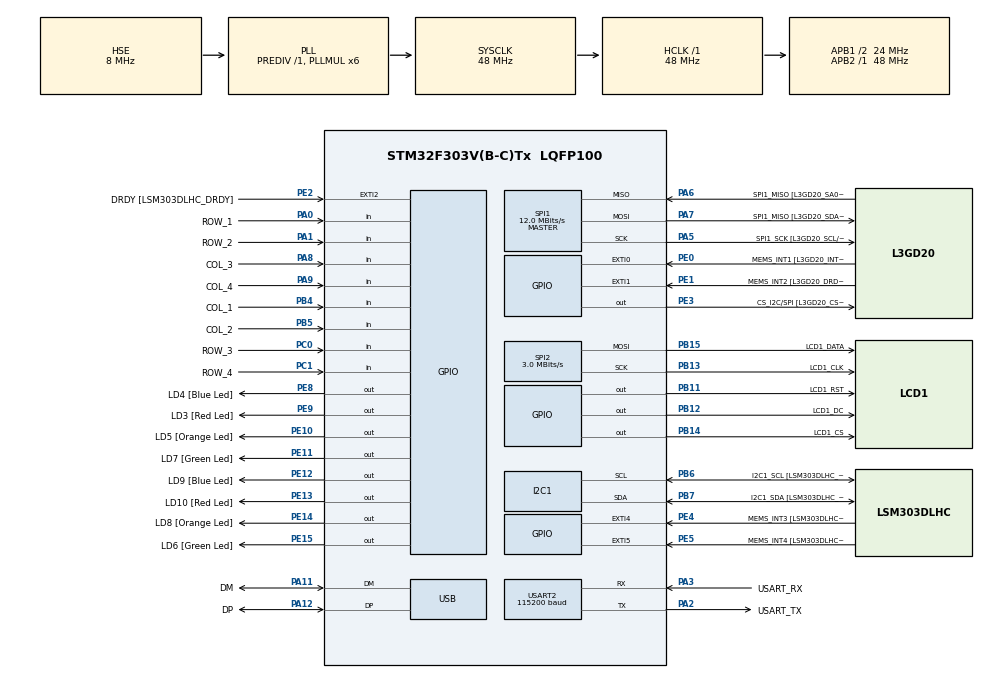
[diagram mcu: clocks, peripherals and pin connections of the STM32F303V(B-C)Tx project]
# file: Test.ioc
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I2C1.Timing=0x00201D2B
I2C1.Timing-I2C=0x2000090E
Mcu.Family=STM32F3
Mcu.Name=STM32F303V(B-C)Tx
Mcu.Package=LQFP100
NVIC.PriorityGroup=NVIC_PRIORITYGROUP_0
NVIC.USART2_IRQn=true\:0\:0\:false\:false\:true\:true\:true\:true
PA0.GPIO_Label=ROW_1
PA0.Signal=GPIO_Input
PA1.GPIO_Label=ROW_2
PA1.Signal=GPIO_Input
PA11.GPIO_Label=DM
PA11.Mode=Device
PA11.Signal=USB_DM
PA12.GPIO_Label=DP
PA12.Mode=Device
PA12.Signal=USB_DP
PA13.GPIO_Label=SWDIO
PA13.Mode=Serial_Wire
PA13.Signal=SYS_JTMS-SWDIO
PA14.GPIO_Label=SWCLK
PA14.Mode=Serial_Wire
PA14.Signal=SYS_JTCK-SWCLK
PA2.GPIO_Label=USART_TX
PA2.Mode=Asynchronous
PA2.Signal=USART2_TX
PA3.GPIO_Label=USART_RX
PA3.Mode=Asynchronous
PA3.Signal=USART2_RX
PA5.GPIO_Label=SPI1_SCK [L3GD20_SCL/SPC]
PA5.Mode=Full_Duplex_Master
PA5.Signal=SPI1_SCK
PA6.GPIO_Label=SPI1_MISO [L3GD20_SA0/SDO]
PA6.Mode=Full_Duplex_Master
PA6.Signal=SPI1_MISO
PA7.GPIO_Label=SPI1_MISO [L3GD20_SDA/SDI/SDO]
PA7.Mode=Full_Duplex_Master
PA7.Signal=SPI1_MOSI
PA8.GPIO_Label=COL_3
PA8.Signal=GPIO_Input
PA9.GPIO_Label=COL_4
PA9.Signal=GPIO_Input
PB11.GPIO_Label=LCD1_RST
PB11.Signal=GPIO_Output
PB12.GPIO_Label=LCD1_DC
PB12.Signal=GPIO_Output
PB13.GPIO_Label=LCD1_CLK
PB13.Mode=TX_Only_Simplex_Unidirect_Master
PB13.Signal=SPI2_SCK
PB14.GPIO_Label=LCD1_CS
PB14.Signal=GPIO_Output
PB15.GPIO_Label=LCD1_DATA
PB15.Mode=TX_Only_Simplex_Unidirect_Master
PB15.Signal=SPI2_MOSI
PB3.GPIO_Label=SWO
PB3.Signal=SYS_JTDO-TRACESWO
PB4.GPIO_Label=COL_1
PB4.Signal=GPIO_Input
PB5.GPIO_Label=COL_2
PB5.Signal=GPIO_Input
PB6.GPIO_Label=I2C1_SCL [LSM303DLHC_SCL]
PB6.GPIO_Pu=GPIO_PULLUP
PB6.Mode=I2C
PB6.Signal=I2C1_SCL
PB7.GPIO_Label=I2C1_SDA [LSM303DLHC_SDA]
PB7.GPIO_Pu=GPIO_PULLUP
PB7.Mode=I2C
PB7.Signal=I2C1_SDA
PC0.GPIO_Label=ROW_3
PC0.Signal=GPIO_Input
PC1.GPIO_Label=ROW_4
PC1.Signal=GPIO_Input
PC14-OSC32_IN.GPIO_Label=OSC32_IN
PC14-OSC32_IN.Signal=RCC_OSC32_IN
PC15-OSC32_OUT.GPIO_Label=OSC32_OUT
PC15-OSC32_OUT.Signal=RCC_OSC32_OUT
PE0.GPIO_Label=MEMS_INT1 [L3GD20_INT1]
PE0.GPIO_ModeDefaultEXTI=GPIO_MODE_EVT_RISING
PE0.Signal=GPXTI0
PE1.GPIO_Label=MEMS_INT2 [L3GD20_DRDY/INT2]
PE1.GPIO_ModeDefaultEXTI=GPIO_MODE_EVT_RISING
PE1.Signal=GPXTI1
PE10.GPIO_Label=LD5 [Orange Led]
PE10.Signal=GPIO_Output
PE11.GPIO_Label=LD7 [Green Led]
PE11.Signal=GPIO_Output
PE12.GPIO_Label=LD9 [Blue Led]
PE12.Signal=GPIO_Output
PE13.GPIO_Label=LD10 [Red Led]
PE13.Signal=GPIO_Output
PE14.GPIO_Label=LD8 [Orange Led]
PE14.Signal=GPIO_Output
PE15.GPIO_Label=LD6 [Green Led]
PE15.Signal=GPIO_Output
PE2.GPIO_Label=DRDY [LSM303DLHC_DRDY]
PE2.GPIO_ModeDefaultEXTI=GPIO_MODE_EVT_RISING
PE2.Signal=GPXTI2
PE3.GPIO_Label=CS_I2C/SPI [L3GD20_CS_I2C/SPI]
PE3.Signal=GPIO_Output
PE4.GPIO_Label=MEMS_INT3 [LSM303DLHC_INT1]
PE4.GPIO_ModeDefaultEXTI=GPIO_MODE_EVT_RISING
PE4.Signal=GPXTI4
PE5.GPIO_Label=MEMS_INT4 [LSM303DLHC_INT2]
PE5.GPIO_ModeDefaultEXTI=GPIO_MODE_EVT_RISING
PE5.Signal=GPXTI5
PE8.GPIO_Label=LD4 [Blue Led]
PE8.Signal=GPIO_Output
PE9.GPIO_Label=LD3 [Red Led]
PE9.Signal=GPIO_Output
PF0-OSC_IN.GPIO_Label=OSC_IN
PF0-OSC_IN.Mode=HSE-External-Clock-Source
PF0-OSC_IN.Signal=RCC_OSC_IN
PF1-OSC_OUT.GPIO_Label=OSC_OUT
PF1-OSC_OUT.Signal=RCC_OSC_OUT
ProjectManager.HeapSize=0x200
ProjectManager.StackSize=0x400
ProjectManager.TargetToolchain=STM32CubeIDE
RCC.AHBFreq_Value=48000000
RCC.APB1CLKDivider=RCC_HCLK_DIV2
RCC.APB1Freq_Value=24000000
RCC.APB1TimFreq_Value=48000000
RCC.APB2Freq_Value=48000000
RCC.APB2TimFreq_Value=48000000
RCC.CortexFreq_Value=48000000
RCC.HCLKFreq_Value=48000000
RCC.HSE_VALUE=8000000
RCC.HSI_VALUE=8000000
RCC.LSE_VALUE=32768
RCC.PLLMUL=RCC_PLL_MUL6
RCC.SYSCLKFreq_VALUE=48000000
RCC.SYSCLKSourceVirtual=RCC_SYSCLKSOURCE_PLLCLK
RCC.USBFreq_Value=48000000
SPI1.BaudRatePrescaler=SPI_BAUDRATEPRESCALER_4
SPI1.BaudRatePrescaler-Full_Duplex_Master=SPI_BAUDRATEPRESCALER_2
SPI1.CalculateBaudRate=12.0 MBits/s
SPI1.CalculateBaudRate-Full_Duplex_Master=24.0 MBits/s
SPI1.Direction=SPI_DIRECTION_2LINES
SPI1.Mode=SPI_MODE_MASTER
SPI1.Mode-Full_Duplex_Master=SPI_MODE_MASTER
SPI1.VirtualType=VM_MASTER
SPI2.BaudRatePrescaler=SPI_BAUDRATEPRESCALER_8
SPI2.CalculateBaudRate=3.0 MBits/s
SPI2.DataSize=SPI_DATASIZE_8BIT
SPI2.Direction=SPI_DIRECTION_2LINES
SPI2.Mode=SPI_MODE_MASTER
SPI2.VirtualType=VM_MASTER
USART2.BaudRate=115200
USART2.VirtualMode-Asynchronous=VM_ASYNC
board=STM32F3DISCOVERY

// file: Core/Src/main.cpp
/* USER CODE BEGIN Header */
/**
  ******************************************************************************
  * @file           : main.c
  * @brief          : Main program body
  ******************************************************************************
  * @attention
  *
  * Copyright (c) 2024 STMicroelectronics.
  * All rights reserved.
  *
  * This software is licensed under terms that can be found in the LICENSE file
  * in the root directory of this software component.
  * If no LICENSE file comes with this software, it is provided AS-IS.
  *
  ******************************************************************************
  */
/* USER CODE END Header */
#include "GSMModule.hpp"
extern "C"{
	#include "main.h"
	#include "i2c.h"
	#include "spi.h"
	#include "usart.h"
	#include "usb.h"
	#include "gpio.h"
	#include "lcd5110.h"
}
/* USER CODE BEGIN Includes */
#include <cstring>
#include <iostream>
#include <queue>
#include <fstream>
#include <string>
#include <stack>
/* USER CODE END Includes */

/* USER CODE BEGIN PTD */
typedef enum {
  IDLE,
  MENU,

} ProgramState;
/* USER CODE END PTD */

LCD5110_display lcd;

void SystemClock_Config(void);
/* USER CODE BEGIN PFP */
//void handle_state_machine(GSM_Module& );
//State parse_command(const std::string& command, GSM_Module );
//std::string read_keyboard_input();
/* USER CODE END PFP */

/* USER CODE BEGIN 0 */

#define ROW_1_Pin GPIO_PIN_0
#define ROW_2_Pin GPIO_PIN_1
#define ROW_3_Pin GPIO_PIN_2
#define ROW_4_Pin GPIO_PIN_3
#define COL_1_Pin GPIO_PIN_4
#define COL_2_Pin GPIO_PIN_5
#define COL_3_Pin GPIO_PIN_8
#define COL_4_Pin GPIO_PIN_9

GPIO_TypeDef* ROW_1_Port = GPIOA;
GPIO_TypeDef* ROW_2_Port = GPIOA;
GPIO_TypeDef* ROW_3_Port = GPIOC;
GPIO_TypeDef* ROW_4_Port = GPIOC;
GPIO_TypeDef* COL_1_Port = GPIOB;
GPIO_TypeDef* COL_2_Port = GPIOB;
GPIO_TypeDef* COL_3_Port = GPIOA;
GPIO_TypeDef* COL_4_Port = GPIOA;

void keypad_init(void)
{
  // Configure GPIO pins for keypad matrix
  GPIO_InitTypeDef GPIO_InitStruct = {0};
  GPIO_InitStruct.Pin = ROW_1_Pin | ROW_2_Pin | ROW_3_Pin | ROW_4_Pin;
  GPIO_InitStruct.Mode = GPIO_MODE_INPUT;
  GPIO_InitStruct.Pull = GPIO_PULLUP;
  HAL_GPIO_Init(ROW_1_Port, &GPIO_InitStruct);
  HAL_GPIO_Init(ROW_2_Port, &GPIO_InitStruct);
  HAL_GPIO_Init(ROW_3_Port, &GPIO_InitStruct);
  HAL_GPIO_Init(ROW_4_Port, &GPIO_InitStruct);

  GPIO_InitStruct.Pin = COL_1_Pin | COL_2_Pin | COL_3_Pin | COL_4_Pin;
  GPIO_InitStruct.Mode = GPIO_MODE_OUTPUT_PP;
  GPIO_InitStruct.Speed = GPIO_SPEED_FREQ_LOW;
  HAL_GPIO_Init(COL_1_Port, &GPIO_InitStruct);
  HAL_GPIO_Init(COL_2_Port, &GPIO_InitStruct);
  HAL_GPIO_Init(COL_3_Port, &GPIO_InitStruct);
  HAL_GPIO_Init(COL_4_Port, &GPIO_InitStruct);
}

char keypad_scan(void)
{
  char keys[4][4] = {{'1', '2', '3', 'A'},
           {'4', '5', '6', 'B'},
           {'7', '8', '9', 'C'},
           {'*', '0', '#', 'D'}};

  for(int i = 0; i < 4; i++)
  {
  // Set current column as output and low
  switch(i)
  {
    case 0:
    HAL_GPIO_WritePin(COL_1_Port, COL_1_Pin, GPIO_PIN_RESET);
    HAL_GPIO_WritePin(COL_2_Port, COL_2_Pin, GPIO_PIN_SET);
    HAL_GPIO_WritePin(COL_3_Port, COL_3_Pin, GPIO_PIN_SET);
    HAL_GPIO_WritePin(COL_4_Port, COL_4_Pin, GPIO_PIN_SET);
    break;

    case 1:
    HAL_GPIO_WritePin(COL_1_Port, COL_1_Pin, GPIO_PIN_SET);
    HAL_GPIO_WritePin(COL_2_Port, COL_2_Pin, GPIO_PIN_RESET);
    HAL_GPIO_WritePin(COL_3_Port, COL_3_Pin, GPIO_PIN_SET);
    HAL_GPIO_WritePin(COL_4_Port, COL_4_Pin, GPIO_PIN_SET);
    break;

    case 2:
    HAL_GPIO_WritePin(COL_1_Port, COL_1_Pin, GPIO_PIN_SET);
    HAL_GPIO_WritePin(COL_2_Port, COL_2_Pin, GPIO_PIN_SET);
    HAL_GPIO_WritePin(COL_3_Port, COL_3_Pin, GPIO_PIN_RESET);
    HAL_GPIO_WritePin(COL_4_Port, COL_4_Pin, GPIO_PIN_SET);
    break;

    case 3:
    HAL_GPIO_WritePin(COL_1_Port, COL_1_Pin, GPIO_PIN_SET);
    HAL_GPIO_WritePin(COL_2_Port, COL_2_Pin, GPIO_PIN_SET);
    HAL_GPIO_WritePin(COL_3_Port, COL_3_Pin, GPIO_PIN_SET);
    HAL_GPIO_WritePin(COL_4_Port, COL_4_Pin, GPIO_PIN_RESET);
    break;
  }
  // Read current rows
  if(HAL_GPIO_ReadPin(ROW_1_Port, ROW_1_Pin) == GPIO_PIN_RESET)
    return keys[0][i];
  if(HAL_GPIO_ReadPin(ROW_2_Port, ROW_2_Pin) == GPIO_PIN_RESET)
    return keys[1][i];
  if(HAL_GPIO_ReadPin(ROW_3_Port, ROW_3_Pin) == GPIO_PIN_RESET)
    return keys[2][i];
  if(HAL_GPIO_ReadPin(ROW_4_Port, ROW_4_Pin) == GPIO_PIN_RESET)
    return keys[3][i];
  }
  return 0;
}

std::string entered_number = "";

std::string read_input(LCD5110_display* lcd) {
    char key;
    int cursor_x = 21; // Starting position for the cursor on the display
    unsigned long last_key_time = 0; // Time of the last key press
    unsigned long debounce_delay = 200; // 200 ms debounce delay

    while (true) {
        key = keypad_scan(); // Get key from the keypad
        if (key != 0 && (HAL_GetTick() - last_key_time > debounce_delay)) {
            last_key_time = HAL_GetTick(); // Update last key time

            if (key == '#') {
                return entered_number;  // Return the global variable
            }
            if (key == '*') {
                if (!entered_number.empty()) { // Handle backspace if not empty
                    entered_number.pop_back(); // Remove the last character
                    cursor_x = std::max(21, cursor_x - 6); // Prevent cursor from going past the start
                    LCD5110_set_cursor(cursor_x, 34, lcd);
                    LCD5110_print(" ", BLACK, lcd); // Clear the character on the display
                }
            } else if (key >= '0' && key <= '9') { // Check if the key is a digit
                if (entered_number.length() < 10) { // Ensure the input doesn't exceed 10 characters
                    entered_number.push_back(key); // Append the key to the global variable

                    LCD5110_set_cursor(cursor_x, 34, lcd);
                    char str[2] = {key, '\0'}; // Temporary string for display
                    LCD5110_print(str, BLACK, lcd); // Print character on the display
                    cursor_x += 6; // Move the cursor forward
                }
            } else {
                // If the key is not a digit and not '*' or '#', display error message
                LCD5110_set_cursor(0, 40, lcd);
                LCD5110_print("Invalid input", BLACK, lcd); // Print error message
                HAL_Delay(1000); // Wait for 1 second to show the error message
                LCD5110_set_cursor(0, 40, lcd);
                LCD5110_print("              ", BLACK, lcd); // Clear the error message
            }

            HAL_Delay(150); // Small delay to debounce
            LCD5110_refresh(lcd); // Refresh the display
        }
    }
}

std::string entered_message = "";
std::string read_input_message(LCD5110_display* lcd) {
    char key;
    int cursor_x = 21; // Starting position for the cursor on the display
    unsigned long last_key_time = 0; // Time of the last key press
    unsigned long debounce_delay = 200; // 200 ms debounce delay

    while (true) {
        key = keypad_scan(); // Get key from the keypad
        if (key != 0 && (HAL_GetTick() - last_key_time > debounce_delay)) {
            last_key_time = HAL_GetTick(); // Update last key time

            if (key == '#') {
                return entered_message;  // Return the global variable
            }
            if (key == '*') {
                if (!entered_message.empty()) { // Handle backspace if not empty
                  entered_message.pop_back(); // Remove the last character
                    cursor_x = std::max(21, cursor_x - 6); // Prevent cursor from going past the start
                    LCD5110_set_cursor(cursor_x, 34, lcd);
                    LCD5110_print(" ", BLACK, lcd); // Clear the character on the display
                }
            } else if (key >= '0' && key <= '9') { // Check if the key is a digit
                if (entered_message.length() < 10) { // Ensure the input doesn't exceed 10 characters
                  entered_message.push_back(key); // Append the key to the global variable

                    LCD5110_set_cursor(cursor_x, 34, lcd);
                    char str[2] = {key, '\0'}; // Temporary string for display
                    LCD5110_print(str, BLACK, lcd); // Print character on the display
                    cursor_x += 6; // Move the cursor forward
                }
            } else {
                LCD5110_set_cursor(0, 40, lcd);
                LCD5110_print("Invalid input", BLACK, lcd); // Print error message
                HAL_Delay(1000); // Wait for 1 second to show the error message
                LCD5110_set_cursor(0, 40, lcd);
                LCD5110_print("              ", BLACK, lcd);
            }

            HAL_Delay(150);
            LCD5110_refresh(lcd);
        }
    }
}

void display_main_screen(LCD5110_display* lcd, int menu, GSM_Module gsm) {
  LCD5110_clear_scr(lcd);

// Kitty

  LCD5110_putpix(3, 3, BLACK, &lcd->hw_conf);
  LCD5110_putpix(4, 3, BLACK, &lcd->hw_conf);
  LCD5110_putpix(5, 3, BLACK, &lcd->hw_conf);
  LCD5110_putpix(19, 3, BLACK, &lcd->hw_conf);
  LCD5110_putpix(20, 3, BLACK, &lcd->hw_conf);
  LCD5110_putpix(21, 3, BLACK, &lcd->hw_conf);

  LCD5110_putpix(2, 4, BLACK, &lcd->hw_conf);
  LCD5110_putpix(6, 4, BLACK, &lcd->hw_conf);
  LCD5110_putpix(7, 4, BLACK, &lcd->hw_conf);
  LCD5110_putpix(17, 4, BLACK, &lcd->hw_conf);
  LCD5110_putpix(18, 4, BLACK, &lcd->hw_conf);
  LCD5110_putpix(22, 4, BLACK, &lcd->hw_conf);

  LCD5110_putpix(2, 5, BLACK, &lcd->hw_conf);
  LCD5110_putpix(8, 5, BLACK, &lcd->hw_conf);
  LCD5110_putpix(9, 5, BLACK, &lcd->hw_conf);
  LCD5110_putpix(10, 5, BLACK, &lcd->hw_conf);
  LCD5110_putpix(11, 5, BLACK, &lcd->hw_conf);
  LCD5110_putpix(12, 5, BLACK, &lcd->hw_conf);
  LCD5110_putpix(13, 5, BLACK, &lcd->hw_conf);
  LCD5110_putpix(14, 5, BLACK, &lcd->hw_conf);
  LCD5110_putpix(15, 5, BLACK, &lcd->hw_conf);
  LCD5110_putpix(16, 5, BLACK, &lcd->hw_conf);
  LCD5110_putpix(22, 5, BLACK, &lcd->hw_conf);

  LCD5110_putpix(2, 6, BLACK, &lcd->hw_conf);
  LCD5110_putpix(6, 6, BLACK, &lcd->hw_conf);
  LCD5110_putpix(7, 6, BLACK, &lcd->hw_conf);
  LCD5110_putpix(17, 6, BLACK, &lcd->hw_conf);
  LCD5110_putpix(18, 6, BLACK, &lcd->hw_conf);
  LCD5110_putpix(22, 6, BLACK, &lcd->hw_conf);

  LCD5110_putpix(2, 7, BLACK, &lcd->hw_conf);
  LCD5110_putpix(5, 7, BLACK, &lcd->hw_conf);
  LCD5110_putpix(19, 7, BLACK, &lcd->hw_conf);
  LCD5110_putpix(22, 7, BLACK, &lcd->hw_conf);

  LCD5110_putpix(2, 8, BLACK, &lcd->hw_conf);
  LCD5110_putpix(4, 8, BLACK, &lcd->hw_conf);
  LCD5110_putpix(20, 8, BLACK, &lcd->hw_conf);
  LCD5110_putpix(22, 8, BLACK, &lcd->hw_conf);

  LCD5110_putpix(2, 9, BLACK, &lcd->hw_conf);
  LCD5110_putpix(3, 9, BLACK, &lcd->hw_conf);
  LCD5110_putpix(21, 9, BLACK, &lcd->hw_conf);
  LCD5110_putpix(22, 9, BLACK, &lcd->hw_conf);

  LCD5110_putpix(3, 10, BLACK, &lcd->hw_conf);
  LCD5110_putpix(21, 10, BLACK, &lcd->hw_conf);

  LCD5110_putpix(2, 11, BLACK, &lcd->hw_conf);
  LCD5110_putpix(22, 11, BLACK, &lcd->hw_conf);

  LCD5110_putpix(2, 12, BLACK, &lcd->hw_conf);
  LCD5110_putpix(6, 12, BLACK, &lcd->hw_conf);
  LCD5110_putpix(7, 12, BLACK, &lcd->hw_conf);
  LCD5110_putpix(17, 12, BLACK, &lcd->hw_conf);
  LCD5110_putpix(18, 12, BLACK, &lcd->hw_conf);
  LCD5110_putpix(22, 12, BLACK, &lcd->hw_conf);

  LCD5110_putpix(2, 13, BLACK, &lcd->hw_conf);
  LCD5110_putpix(6, 13, BLACK, &lcd->hw_conf);
  LCD5110_putpix(7, 13, BLACK, &lcd->hw_conf);
  LCD5110_putpix(10, 13, BLACK, &lcd->hw_conf);
  LCD5110_putpix(12, 13, BLACK, &lcd->hw_conf);
  LCD5110_putpix(14, 13, BLACK, &lcd->hw_conf);
  LCD5110_putpix(17, 13, BLACK, &lcd->hw_conf);
  LCD5110_putpix(18, 13, BLACK, &lcd->hw_conf);
  LCD5110_putpix(22, 13, BLACK, &lcd->hw_conf);

  LCD5110_putpix(2, 14, BLACK, &lcd->hw_conf);
  LCD5110_putpix(11, 14, BLACK, &lcd->hw_conf);
  LCD5110_putpix(13, 14, BLACK, &lcd->hw_conf);
  LCD5110_putpix(22, 14, BLACK, &lcd->hw_conf);

  LCD5110_putpix(2, 15, BLACK, &lcd->hw_conf);
  LCD5110_putpix(22, 15, BLACK, &lcd->hw_conf);

  LCD5110_putpix(3, 16, BLACK, &lcd->hw_conf);
  LCD5110_putpix(21, 16, BLACK, &lcd->hw_conf);

  LCD5110_putpix(3, 17, BLACK, &lcd->hw_conf);
  LCD5110_putpix(21, 17, BLACK, &lcd->hw_conf);

  LCD5110_putpix(4, 18, BLACK, &lcd->hw_conf);
  LCD5110_putpix(5, 18, BLACK, &lcd->hw_conf);
  LCD5110_putpix(19, 18, BLACK, &lcd->hw_conf);
  LCD5110_putpix(20, 18, BLACK, &lcd->hw_conf);

  LCD5110_putpix(5, 19, BLACK, &lcd->hw_conf);
  LCD5110_putpix(19, 19, BLACK, &lcd->hw_conf);
  LCD5110_putpix(23, 19, BLACK, &lcd->hw_conf);
  LCD5110_putpix(24, 19, BLACK, &lcd->hw_conf);

  LCD5110_putpix(4, 20, BLACK, &lcd->hw_conf);
  LCD5110_putpix(20, 20, BLACK, &lcd->hw_conf);
  LCD5110_putpix(22, 20, BLACK, &lcd->hw_conf);
  LCD5110_putpix(25, 20, BLACK, &lcd->hw_conf);

  LCD5110_putpix(4, 21, BLACK, &lcd->hw_conf);
  LCD5110_putpix(20, 21, BLACK, &lcd->hw_conf);
  LCD5110_putpix(22, 21, BLACK, &lcd->hw_conf);
  LCD5110_putpix(25, 21, BLACK, &lcd->hw_conf);

  LCD5110_putpix(3, 22,  BLACK, &lcd->hw_conf);
  LCD5110_putpix(21, 22,  BLACK, &lcd->hw_conf);
  LCD5110_putpix(24, 22, BLACK, &lcd->hw_conf);

  LCD5110_putpix(3, 23, BLACK, &lcd->hw_conf);
  LCD5110_putpix(22, 23, BLACK, &lcd->hw_conf);
  LCD5110_putpix(23, 23, BLACK, &lcd->hw_conf);

  LCD5110_putpix(3, 24, BLACK, &lcd->hw_conf);
  LCD5110_putpix(21, 24, BLACK, &lcd->hw_conf);
  LCD5110_putpix(22, 24, BLACK, &lcd->hw_conf);

  LCD5110_putpix(4, 25, BLACK, &lcd->hw_conf);
  LCD5110_putpix(20, 25, BLACK, &lcd->hw_conf);

  LCD5110_putpix(5, 26, BLACK, &lcd->hw_conf);
  LCD5110_putpix(6, 26, BLACK, &lcd->hw_conf);
  LCD5110_putpix(7, 26, BLACK, &lcd->hw_conf);
  LCD5110_putpix(8, 26, BLACK, &lcd->hw_conf);
  LCD5110_putpix(9, 26, BLACK, &lcd->hw_conf);
  LCD5110_putpix(10, 26, BLACK, &lcd->hw_conf);
  LCD5110_putpix(11, 26, BLACK, &lcd->hw_conf);
  LCD5110_putpix(12, 26, BLACK, &lcd->hw_conf);
  LCD5110_putpix(13, 26, BLACK, &lcd->hw_conf);
  LCD5110_putpix(14, 26, BLACK, &lcd->hw_conf);
  LCD5110_putpix(15, 26, BLACK, &lcd->hw_conf);
  LCD5110_putpix(16, 26, BLACK, &lcd->hw_conf);
  LCD5110_putpix(17, 26, BLACK, &lcd->hw_conf);
  LCD5110_putpix(18, 26, BLACK, &lcd->hw_conf);
  LCD5110_putpix(19, 26, BLACK, &lcd->hw_conf);

///////////////////////////////////////////////////////////////
//////////////////////////////////////////////////////////////

  LCD5110_putpix(81, 0, BLACK, &lcd->hw_conf);
  LCD5110_putpix(82, 0, BLACK, &lcd->hw_conf);
  LCD5110_putpix(83, 0, BLACK, &lcd->hw_conf);

  LCD5110_putpix(81, 1, BLACK, &lcd->hw_conf);
  LCD5110_putpix(83, 1, BLACK, &lcd->hw_conf);

  LCD5110_putpix(77, 2, BLACK, &lcd->hw_conf);
  LCD5110_putpix(78, 2, BLACK, &lcd->hw_conf);
  LCD5110_putpix(79, 2, BLACK, &lcd->hw_conf);
  LCD5110_putpix(81, 2, BLACK, &lcd->hw_conf);
  LCD5110_putpix(83, 2, BLACK, &lcd->hw_conf);

  LCD5110_putpix(77, 3, BLACK, &lcd->hw_conf);
  LCD5110_putpix(79, 3, BLACK, &lcd->hw_conf);
  LCD5110_putpix(81, 3, BLACK, &lcd->hw_conf);
  LCD5110_putpix(83, 3, BLACK, &lcd->hw_conf);

  LCD5110_putpix(73, 4, BLACK, &lcd->hw_conf);
  LCD5110_putpix(74, 4, BLACK, &lcd->hw_conf);
  LCD5110_putpix(75, 4, BLACK, &lcd->hw_conf);
  LCD5110_putpix(77, 4, BLACK, &lcd->hw_conf);
  LCD5110_putpix(79, 4, BLACK, &lcd->hw_conf);
  LCD5110_putpix(81, 4, BLACK, &lcd->hw_conf);
  LCD5110_putpix(83, 4, BLACK, &lcd->hw_conf);

  LCD5110_putpix(73, 5, BLACK, &lcd->hw_conf);
  LCD5110_putpix(75, 5, BLACK, &lcd->hw_conf);
  LCD5110_putpix(77, 5, BLACK, &lcd->hw_conf);
  LCD5110_putpix(79, 5, BLACK, &lcd->hw_conf);
  LCD5110_putpix(81, 5, BLACK, &lcd->hw_conf);
  LCD5110_putpix(83, 5, BLACK, &lcd->hw_conf);

  LCD5110_putpix(69, 6, BLACK, &lcd->hw_conf);
  LCD5110_putpix(70, 6, BLACK, &lcd->hw_conf);
  LCD5110_putpix(71, 6, BLACK, &lcd->hw_conf);
  LCD5110_putpix(73, 6, BLACK, &lcd->hw_conf);
  LCD5110_putpix(75, 6, BLACK, &lcd->hw_conf);
  LCD5110_putpix(77, 6, BLACK, &lcd->hw_conf);
  LCD5110_putpix(79, 6, BLACK, &lcd->hw_conf);
  LCD5110_putpix(81, 6, BLACK, &lcd->hw_conf);
  LCD5110_putpix(83, 6, BLACK, &lcd->hw_conf);

  LCD5110_putpix(69, 7, BLACK, &lcd->hw_conf);
  LCD5110_putpix(71, 7, BLACK, &lcd->hw_conf);
  LCD5110_putpix(73, 7, BLACK, &lcd->hw_conf);
  LCD5110_putpix(75, 7, BLACK, &lcd->hw_conf);
  LCD5110_putpix(77, 7, BLACK, &lcd->hw_conf);
  LCD5110_putpix(79, 7, BLACK, &lcd->hw_conf);
  LCD5110_putpix(81, 7, BLACK, &lcd->hw_conf);
  LCD5110_putpix(83, 7, BLACK, &lcd->hw_conf);

  LCD5110_putpix(69, 8, BLACK, &lcd->hw_conf);
  LCD5110_putpix(70, 8, BLACK, &lcd->hw_conf);
  LCD5110_putpix(71, 8, BLACK, &lcd->hw_conf);
  LCD5110_putpix(73, 8, BLACK, &lcd->hw_conf);
  LCD5110_putpix(74, 8, BLACK, &lcd->hw_conf);
  LCD5110_putpix(75, 8, BLACK, &lcd->hw_conf);
  LCD5110_putpix(77, 8, BLACK, &lcd->hw_conf);
  LCD5110_putpix(78, 8, BLACK, &lcd->hw_conf);
  LCD5110_putpix(79, 8, BLACK, &lcd->hw_conf);
  LCD5110_putpix(81, 8, BLACK, &lcd->hw_conf);
  LCD5110_putpix(82, 8, BLACK, &lcd->hw_conf);
  LCD5110_putpix(83, 8, BLACK, &lcd->hw_conf);

	  if (gsm.signal >= 0) {
		LCD5110_putpix(70, 7, BLACK, &lcd->hw_conf);
	      }

		  if (gsm.signal >= 9) {
			LCD5110_putpix(74, 7, BLACK, &lcd->hw_conf);
			LCD5110_putpix(74, 6, BLACK, &lcd->hw_conf);
			LCD5110_putpix(74, 5, BLACK, &lcd->hw_conf);
		  }

		  if (gsm.signal >= 14) {
			LCD5110_putpix(78, 7, BLACK, &lcd->hw_conf);
			LCD5110_putpix(78, 6, BLACK, &lcd->hw_conf);
			LCD5110_putpix(78, 5, BLACK, &lcd->hw_conf);
			LCD5110_putpix(78, 4, BLACK, &lcd->hw_conf);
			LCD5110_putpix(78, 3, BLACK, &lcd->hw_conf);
		  }

		  if (gsm.signal >= 19) {
			LCD5110_putpix(82, 7, BLACK, &lcd->hw_conf);
			LCD5110_putpix(82, 6, BLACK, &lcd->hw_conf);
			LCD5110_putpix(82, 5, BLACK, &lcd->hw_conf);
			LCD5110_putpix(82, 4, BLACK, &lcd->hw_conf);
			LCD5110_putpix(82, 3, BLACK, &lcd->hw_conf);
			LCD5110_putpix(82, 2, BLACK, &lcd->hw_conf);
			LCD5110_putpix(82, 1, BLACK, &lcd->hw_conf);
		  }

	int y_position = 35; // Y position for the menu button
	int rect_height = 8; // Height of the rectangle
	int rect_width = 8; // Full width of the screen (Nokia 5110)

  if (menu == 1) {
    // Draw a black rectangle
    for (int x = 0; x < rect_width; x++) {
      for (int y = y_position; y < y_position + rect_height; y++) {
        LCD5110_putpix(x, y, BLACK, &lcd->hw_conf);
      }
    }

    // Print white text on black rectangle
    LCD5110_set_cursor(2, y_position, lcd); // Adjust X cursor (2) for slight padding
    LCD5110_print("Menu", WHITE, lcd);
  } else {
    // Print text in black (no rectangle)
    LCD5110_set_cursor(2, y_position, lcd);
    LCD5110_print("Menu", BLACK, lcd);
  }

  for (int x = 0; x < 26; x++) {
          LCD5110_putpix(x, 42, BLACK, &lcd->hw_conf);
   }

  LCD5110_set_cursor(53, 13, lcd);
  LCD5110_print(gsm.time.c_str(), BLACK, lcd);

  LCD5110_set_cursor(36, 25, lcd);
  LCD5110_print(gsm.date.c_str(), BLACK, lcd);

  LCD5110_refresh(lcd);
}

void display_main_menu(LCD5110_display* lcd, int selected_num) {
    LCD5110_clear_scr(lcd);

    LCD5110_set_cursor(31, 0, lcd);
    LCD5110_print("Menu", BLACK, lcd);

    for (int x = 0; x < 84; x++) {
        LCD5110_putpix(x, 9, BLACK, &lcd->hw_conf);
    }

    const char* menu_items[] = {"> Call", "> Messages", "> Snake"};
    const int y_positions[] = {12, 20, 28};
    const int num_items = 3;

    for (int i = 0; i < num_items; i++) {
        if (selected_num == i + 1) {
            for (int x = 0; x < 84; x++) {
                for (int y = y_positions[i]; y < y_positions[i] + 8; y++) {
                    LCD5110_putpix(x, y, BLACK, &lcd->hw_conf);
                }
            }
            LCD5110_set_cursor(0, y_positions[i], lcd);
            LCD5110_print(menu_items[i], WHITE, lcd);
        } else {
            LCD5110_set_cursor(0, y_positions[i], lcd);
            LCD5110_print(menu_items[i], BLACK, lcd);
        }
    }
    LCD5110_refresh(lcd);
}

void display_messages_screen(LCD5110_display* lcd, int selected_num) {
    LCD5110_clear_scr(lcd);

    LCD5110_set_cursor(21, 0, lcd);
    LCD5110_print("Messages", BLACK, lcd);

    for (int x = 0; x < 84; x++) {
        LCD5110_putpix(x, 9, BLACK, &lcd->hw_conf);
    }

    const char* menu_items[] = {"> Send SMS", "> Received SMS"};
    const int y_positions[] = {12, 20};
    const int num_items = 2;

    for (int i = 0; i < num_items; i++){
      if (selected_num == i + 1){
        for (int x = 0; x < 84; x++){
          for (int y = y_positions[i]; y < y_positions[i] + 8; y++){
              LCD5110_putpix(x, y, BLACK, &lcd->hw_conf);
          }
        }
        LCD5110_set_cursor(0, y_positions[i], lcd);
        LCD5110_print(menu_items[i], WHITE, lcd);
      } else {
            LCD5110_set_cursor(0, y_positions[i], lcd);
            LCD5110_print(menu_items[i], BLACK, lcd);
        }
    }
    LCD5110_refresh(lcd);
}

void display_call_screen(LCD5110_display* lcd) {
    LCD5110_clear_scr(lcd);

    LCD5110_set_cursor(31, 0, lcd);
    LCD5110_print("Call", BLACK, lcd);

    for (int x = 0; x < 84; x++) {
        LCD5110_putpix(x, 9, BLACK, &lcd->hw_conf);
    }

    LCD5110_set_cursor(3, 14, lcd);
    LCD5110_print("Enter number:", BLACK, lcd);

    LCD5110_set_cursor(1, 34, lcd);
    LCD5110_print("+38", BLACK, lcd);

    int x_start = 19;
    int x_end = 83;
    int y_start = 32;
    int y_end = 42;

    for (int x = x_start; x < x_end; x++) {
        LCD5110_putpix(x, y_start, BLACK, &lcd->hw_conf);
    }

    for (int x = x_start; x < x_end; x++) {
        LCD5110_putpix(x, y_end, BLACK, &lcd->hw_conf);
    }

    for (int y = y_start; y <= y_end; y++) {
        LCD5110_putpix(x_start, y, BLACK, &lcd->hw_conf);
    }

    for (int y = y_start; y <= y_end; y++) {
        LCD5110_putpix(x_end - 1, y, BLACK, &lcd->hw_conf);
    }

    LCD5110_refresh(lcd);

    std::string phone_number = read_input(lcd);

}

void display_call_process(LCD5110_display* lcd) {
    LCD5110_clear_scr(lcd);
    LCD5110_set_cursor(15, 0, lcd);
    LCD5110_print("Calling...", BLACK, lcd);

    int x_start = 0;
    int y_start = 18;

    if (entered_number.empty()) {
       LCD5110_set_cursor(x_start, y_start, lcd);
       LCD5110_print("Empty", BLACK, lcd);
    } else{

    LCD5110_set_cursor(x_start, y_start, lcd);
    LCD5110_print(entered_number.c_str(), BLACK, lcd);
    }
    LCD5110_set_cursor(0, 35, lcd);
    LCD5110_print("Press * to end", BLACK, lcd);

    LCD5110_refresh(lcd);
}

void display_hang_up_call_process(LCD5110_display* lcd){
  LCD5110_clear_scr(lcd);
  LCD5110_set_cursor(28, 0, lcd);
  LCD5110_print("00:00", BLACK, lcd);
  for (int x = 0; x < 84; x++) {
    LCD5110_putpix(x, 9, BLACK, &lcd->hw_conf);
  }

  int x_start = 0;
  int y_start = 18;
  int text_width = 72;
  int text_height = 8;

  for (int x = x_start; x < x_start + text_width; x++) {
    for (int y = y_start; y < y_start + text_height; y++) {
      LCD5110_putpix(x, y, BLACK, &lcd->hw_conf);
    }
  }

  LCD5110_set_cursor(x_start, y_start, lcd);
  LCD5110_print("+380.........", WHITE, lcd);

  LCD5110_set_cursor(0, 35, lcd);
  LCD5110_print("Press * to end", BLACK, lcd);

  LCD5110_refresh(lcd);
}

void display_send_sms(LCD5110_display* lcd) {
    // Step 1: Display the initial "Send SMS" screen
    LCD5110_clear_scr(lcd);

    LCD5110_set_cursor(21, 0, lcd);
    LCD5110_print("Send SMS", BLACK, lcd);

    for (int x = 0; x < 84; x++) {
        LCD5110_putpix(x, 9, BLACK, &lcd->hw_conf);
    }

    LCD5110_set_cursor(3, 14, lcd);
    LCD5110_print("Enter number:", BLACK, lcd);

    LCD5110_set_cursor(1, 34, lcd);
    LCD5110_print("+380", BLACK, lcd);

    // Draw frame for phone number input
    int x_start = 26;
    int x_end = 83;
    int y_start = 33;
    int y_end = 41;

    for (int x = x_start; x < x_end; x++) {
        LCD5110_putpix(x, y_start, BLACK, &lcd->hw_conf);
    }

    for (int x = x_start; x < x_end; x++) {
        LCD5110_putpix(x, y_end, BLACK, &lcd->hw_conf);
    }

    for (int y = y_start; y <= y_end; y++) {
        LCD5110_putpix(x_start, y, BLACK, &lcd->hw_conf);
    }

    for (int y = y_start; y <= y_end; y++) {
        LCD5110_putpix(x_end - 1, y, BLACK, &lcd->hw_conf);
    }

    LCD5110_refresh(lcd);

    std::string phone_number = read_input(lcd);

    // Step 3: Display the entered phone number
    LCD5110_clear_scr(lcd);
    LCD5110_set_cursor(15, 0, lcd);
    LCD5110_print("Sending SMS to:", BLACK, lcd);

    LCD5110_set_cursor(5, 20, lcd);
    LCD5110_print(("+380" + phone_number).c_str(), BLACK, lcd);

    LCD5110_refresh(lcd);

}

void display_send_sms_input(LCD5110_display* lcd) {
    LCD5110_clear_scr(lcd); // Clear the screen

    // Display "Send SMS" at the top
    LCD5110_set_cursor(25, 0, lcd);
    LCD5110_print("Send SMS", BLACK, lcd);

    // Draw a horizontal line under the title
    for (int x = 0; x < 84; x++) {
        LCD5110_putpix(x, 9, BLACK, &lcd->hw_conf);
    }

    // Display "Enter SMS:" prompt
    LCD5110_set_cursor(3, 14, lcd);
    LCD5110_print("Enter SMS:", BLACK, lcd);

    // Display a frame for the SMS message input
    int x_start = 1;
    int x_end = 83;
    int y_start = 32;
    int y_end = 42;

    // Top border of the frame
    for (int x = x_start; x < x_end; x++) {
        LCD5110_putpix(x, y_start, BLACK, &lcd->hw_conf);
    }

    // Bottom border of the frame
    for (int x = x_start; x < x_end; x++) {
        LCD5110_putpix(x, y_end, BLACK, &lcd->hw_conf);
    }

    // Left border of the frame
    for (int y = y_start; y <= y_end; y++) {
        LCD5110_putpix(x_start, y, BLACK, &lcd->hw_conf);
    }

    // Right border of the frame
    for (int y = y_start; y <= y_end; y++) {
        LCD5110_putpix(x_end - 1, y, BLACK, &lcd->hw_conf);
    }

    LCD5110_refresh(lcd); // Refresh the display

    // Call the function to read input from the keypad
    std::string sms_message = read_input_message(lcd);
}

void display_sent_sms(LCD5110_display* lcd){
  LCD5110_clear_scr(lcd);
  LCD5110_set_cursor(0, 15, lcd);
  LCD5110_print("The message was sent", BLACK, lcd);

  LCD5110_set_cursor(0, 30, lcd);
  LCD5110_print(entered_number.c_str(), BLACK, lcd);

  LCD5110_refresh(lcd);
}

void display_calling(LCD5110_display* lcd, char keyPressed) {
    LCD5110_clear_scr(lcd);
    LCD5110_set_cursor(4, 5, lcd);
    LCD5110_print(entered_number.c_str(), BLACK, lcd);

    LCD5110_set_cursor(18, 20, lcd);
    LCD5110_print("*", BLACK, lcd);

    LCD5110_set_cursor(60, 18, lcd);
    LCD5110_print("#", BLACK, lcd);

    int claimTextColor = BLACK;
    int claimRectColor = WHITE;
    int cancelTextColor = BLACK;
    int cancelRectColor = WHITE;

    if (keyPressed == '*') {
        claimTextColor = WHITE;
        claimRectColor = BLACK;
    } else if (keyPressed == '#') {
        cancelTextColor = WHITE;
        cancelRectColor = BLACK;
    }

    // Draw "Claim" with a filled rectangle
    for (int y = 30; y <= 40; y++) {       // Fill vertical range
        for (int x = 0; x < 40; x++) {     // Fill horizontal range
            LCD5110_putpix(x, y, claimRectColor, &lcd->hw_conf);
        }
    }
    LCD5110_set_cursor(4, 32, lcd);
    LCD5110_print("Claim", claimTextColor, lcd);

    // Draw "Cancel" with a filled rectangle
    for (int y = 30; y <= 40; y++) {       // Fill vertical range
        for (int x = 43; x < 82; x++) {    // Fill horizontal range
            LCD5110_putpix(x, y, cancelRectColor, &lcd->hw_conf);
        }
    }
    LCD5110_set_cursor(45, 32, lcd);
    LCD5110_print("Cancel", cancelTextColor, lcd);

    // Refresh the screen to apply changes
    LCD5110_refresh(lcd);
}

const int MAX_VISIBLE_MESSAGES = 5;

void display_messages_list(LCD5110_display* lcd, const std::vector<std::string>& messages) {
    int selected_message = 0;
    int scroll_offset = 0;

    while (true) {
        LCD5110_clear_scr(lcd);

        // Title "Received SMS"
        LCD5110_set_cursor(10, 0, lcd);
        LCD5110_print("Received SMS", BLACK, lcd);

        // Horizontal line under the title
        for (int x = 0; x < 84; x++) {
            LCD5110_putpix(x, 9, BLACK, &lcd->hw_conf);
        }

        // Display visible messages
        for (int i = 0; i < MAX_VISIBLE_MESSAGES; ++i) {
            int msg_index = scroll_offset + i;
            if (msg_index >= messages.size()) {
                break; // No more messages
            }

            // Adjust the starting Y position for the messages
            int y_position = 12 + i * 8; // Start at 12px instead of 10px

            if (msg_index == selected_message) {
                // Highlight selected message with a black background
                for (int x = 0; x < 84; ++x) {
                    for (int y = y_position; y < y_position + 8; ++y) {
                        LCD5110_putpix(x, y, BLACK, &lcd->hw_conf);
                    }
                }
                LCD5110_set_cursor(0, y_position, lcd);
                LCD5110_print(("> " + messages[msg_index]).c_str(), WHITE, lcd); // White text on black background
            } else {
                // Regular message
                LCD5110_set_cursor(0, y_position, lcd);
                LCD5110_print(("> " + messages[msg_index]).c_str(), BLACK, lcd);
            }
        }

        LCD5110_refresh(lcd); // Refresh display

        // Navigation input
        char key = keypad_scan();

        if (key == 'A') { // Up
            if (selected_message > 0) {
                --selected_message;
                if (selected_message < scroll_offset) {
                    --scroll_offset; // Scroll up
                }
            }
        } else if (key == 'B') { // Down
            if (selected_message < messages.size() - 1) {
                ++selected_message;
                if (selected_message >= scroll_offset + MAX_VISIBLE_MESSAGES) {
                    ++scroll_offset; // Scroll down
                }
            }
        } else if (key == '#') { // Select message
            return; // Exit the function
        }

        HAL_Delay(150); // Debounce delay
    }
}

typedef enum {
    STATE_MAIN_SCREEN,
    STATE_MENU,
    STATE_CALL_INPUT,
    STATE_CALLING,
    STATE_CALL,
    STATE_INCOMING_CALL,
    STATE_MESSAGES,
    STATE_MESSAGE_NUMBER,
    STATE_MESSAGE_TEXT,
	STATE_RECIEVED,
    STATE_SNAKE_SCREEN
} SystemState;

void update_display_for_option(int option);
void update_display_for_message_option(int option);
void enter_main_screen(GSM_Module gsm);
void enter_menu();
void enter_call();
void enter_call_input();
void enter_calling();
void enter_messages();
void enter_message_number();
void enter_message_text();
char keypad_scan();
void handle_key_press(char key_pressed);

int MAX_OPTIONS = 3;

SystemState current_state = STATE_MAIN_SCREEN;
std::stack<SystemState> state_stack;
int current_option = 0;
int current_message_option = 0;

std::vector<std::string> messages = {
    "Hello there!",
    "How are you?",
    "This is a test message.",
    "Please reply ASAP.",
    "Don't forget the meeting.",
    "Urgent: System update required.",
    "Reminder: Code review tomorrow.",
    "Lunch at 12:00?"
};

void update_display_for_option(int option) {
    switch (option) {
        case 0:
            display_main_menu(&lcd, 1);
            break;
        case 1:
            display_main_menu(&lcd, 2);
            break;
        case 2:
            display_main_menu(&lcd, 3);
            break;
    }
}

void update_display_for_message_option(int option) {
    switch (option) {
        case 0:
            display_messages_screen(&lcd, 1);
            break;
        case 1:
            display_messages_screen(&lcd, 2);
            break;
    }
}

void push_state(SystemState state) {
    state_stack.push(state);
}

void pop_state(GSM_Module gsm) {
    if (!state_stack.empty()) {
        current_state = state_stack.top();
        state_stack.pop();

        // Update the display based on the restored state
        switch (current_state) {
            case STATE_MAIN_SCREEN:
            	display_main_screen(&lcd, 0, gsm);
                break;
            case STATE_MENU:
                display_main_menu(&lcd, 0);
                update_display_for_option(current_option);
                break;
            case STATE_CALL_INPUT:
                display_call_screen(&lcd);
                read_input(&lcd);
                break;
            case STATE_CALLING:
                display_call_process(&lcd);
                break;
            case STATE_CALL:
                display_hang_up_call_process(&lcd);
                break;
            case STATE_MESSAGES:
                display_messages_screen(&lcd, 0);
                update_display_for_message_option(current_message_option);
                break;
            case STATE_MESSAGE_NUMBER:
                display_send_sms(&lcd);
                break;
            case STATE_MESSAGE_TEXT:
                display_send_sms_input(&lcd);
                break;
            case STATE_RECIEVED:
            	display_messages_list(&lcd, messages);
            	break;
            default:
                break;
        }
    }
}

void enter_main_screen(GSM_Module gsm) {
    display_main_screen(&lcd, 0, gsm);
    entered_number.clear();
    entered_message.clear();
    push_state(current_state);
    current_state = STATE_MAIN_SCREEN;
}

void enter_menu() {
    display_main_menu(&lcd, 0);
    update_display_for_option(current_option);
    push_state(current_state);
    current_state = STATE_MENU;
}

void enter_call_input() {
    display_call_screen(&lcd);
    read_input(&lcd);
    push_state(current_state);
    current_state = STATE_CALL_INPUT;
}

void enter_calling() {
    display_call_process(&lcd);
    push_state(current_state);
    current_state = STATE_CALLING;
}

void enter_call() {
    display_hang_up_call_process(&lcd);
    push_state(current_state);
    current_state = STATE_CALL;
}

void enter_messages() {
    display_messages_screen(&lcd, 0);
    current_message_option = 0;
    push_state(current_state);
    current_state = STATE_MESSAGES;
}

void enter_message_number() {
    display_send_sms(&lcd);
    read_input(&lcd);
    push_state(current_state);
    current_state = STATE_MESSAGE_NUMBER;
}

void enter_message_text() {
    display_send_sms_input(&lcd);
    read_input(&lcd);
    push_state(current_state);
    current_state = STATE_MESSAGE_TEXT;
}

void enter_recieved() {
	display_messages_list(&lcd, messages);
	push_state(current_state);
	current_state = STATE_RECIEVED;

}

void handle_key_press(char key_pressed, GSM_Module gsm) {
    if (gsm.current_state == gsm.IDLE) {
        switch (current_state) {
            case STATE_MAIN_SCREEN:
                if (key_pressed == '0') {
                    enter_menu();
                }
                break;
            case STATE_MENU:
                if (key_pressed == 'A') {
                    current_option = (current_option - 1 + MAX_OPTIONS) % MAX_OPTIONS;
                    update_display_for_option(current_option);
                }
                if (key_pressed == 'B') {
                    current_option = (current_option + 1) % MAX_OPTIONS;
                    update_display_for_option(current_option);
                }
                if (key_pressed == '0') {
                    switch (current_option) {
                        case 0: enter_call_input(); break;
                        case 1: enter_messages(); break;
                    }
                }
                if (key_pressed == 'D') {
                    enter_main_screen(gsm);
                }
                if (key_pressed == 'C') {
                    pop_state(gsm);
                }
                break;
            case STATE_CALL_INPUT:
                if (key_pressed == '#') {
                    enter_calling();
                }
                if (key_pressed == 'D') {
                    enter_main_screen(gsm);
                }
                if (key_pressed == 'C') {
                    pop_state(gsm);
                }
                break;
            case STATE_CALLING:
                if (key_pressed == '#') {
                    enter_call();
                }
                if (key_pressed == '*') {
                    enter_main_screen(gsm);
                }
                break;
            case STATE_MESSAGES:
                if (key_pressed == 'A') {
                    current_message_option = (current_message_option - 1 + 2) % 2;
                    update_display_for_message_option(current_message_option);
                }
                if (key_pressed == 'B') {
                    current_message_option = (current_message_option + 1) % 2;
                    update_display_for_message_option(current_message_option);
                }
                if (key_pressed == '0') {
                	switch (current_message_option) {
				case 0: enter_message_number(); break;
				case 1: enter_recieved();
			}
                }
                if (key_pressed == 'D') {
                    enter_main_screen(gsm);
                }
                if (key_pressed == 'C') {
                    pop_state(gsm);
                }
                break;
            case STATE_MESSAGE_NUMBER:
                if (key_pressed == '#') {
                    enter_message_text();
                }
                if (key_pressed == 'C') {
                    pop_state(gsm);
                }
                if (key_pressed == 'D') {
                	enter_main_screen(gsm);
                }
                break;
            case STATE_MESSAGE_TEXT:
                if (key_pressed == '#') {
                    display_sent_sms(&lcd);
                    HAL_Delay(2000);
                    enter_main_screen(gsm);
                }
                if (key_pressed == 'C') {
                    pop_state(gsm);
                }
                if (key_pressed == 'D') {
                	enter_main_screen(gsm);
                }
                break;
            case STATE_RECIEVED:
            	display_messages_list(&lcd, messages);
            	if (key_pressed == 'C') {
					pop_state(gsm);
				}
				if (key_pressed == 'D') {
					enter_main_screen(gsm);
				}
            default:
                enter_main_screen(gsm);
        }
    } else {
        switch (current_state) {
            case STATE_CALL:
                if (key_pressed == '*') {
                    gsm.hang_up();
                    enter_main_screen(gsm);
                }
                break;
            case STATE_INCOMING_CALL:
                if (key_pressed == '*') {
                    gsm.receive_call();
                    enter_call();
                }
                if (key_pressed == '#') {
                    gsm.hang_up();
                    enter_main_screen(gsm);
                }
                break;
        }
    }
}

/* USER CODE END 0 */

// Main function
int main(void) {

    /* MCU Configuration--------------------------------------------------------*/

    /* Reset of all peripherals, Initializes the Flash interface and the Systick. */

    /* Configure the system clock */

    /* Initialize all configured peripherals */
    HAL_Init();
    SystemClock_Config();

    MX_GPIO_Init();
    MX_I2C1_Init();
    MX_SPI1_Init();
    MX_USB_PCD_Init();
    MX_SPI2_Init();
    MX_USART2_UART_Init();
    /* USER CODE BEGIN 2 */

    lcd.hw_conf.spi_handle = &hspi2;
    lcd.hw_conf.spi_cs_pin = LCD1_CS_Pin;
    lcd.hw_conf.spi_cs_port = LCD1_CS_GPIO_Port;
    lcd.hw_conf.rst_pin = LCD1_RST_Pin;
    lcd.hw_conf.rst_port = LCD1_RST_GPIO_Port;
    lcd.hw_conf.dc_pin = LCD1_DC_Pin;
    lcd.hw_conf.dc_port = LCD1_DC_GPIO_Port;
    lcd.def_scr = lcd5110_def_scr;

    LCD5110_init(&lcd.hw_conf, LCD5110_NORMAL_MODE, 0x40, 2, 3);
    keypad_init();

//    enter_main_screen();

    char key_pressed = 0;

    Parameters parameters = load_parameters();
    GSM_Module gsm(parameters);
    enter_main_screen(gsm);

    /* USER CODE END 2 */
//    .make_call("380661597304");

    /* Infinite loop */
    while (1) {
        key_pressed = keypad_scan();
        if (key_pressed != 0) {
          HAL_GPIO_WritePin(GPIOE, GPIO_PIN_8, GPIO_PIN_SET);
            handle_key_press(key_pressed, gsm);
            HAL_Delay(2000);
          HAL_GPIO_WritePin(GPIOE, GPIO_PIN_8, GPIO_PIN_RESET);
        }
    }

    return 0;
}

//}
  /* USER CODE END 2 */

  /* Infinite loop */
  /* USER CODE BEGIN WHILE */

//  while (true) {
//   display_main_screen(&lcd, 0);
////          display_main_screen(&lcd);
////          display_call_screen(&lcd);
////          display_call_process(&lcd);
////          display_hang_up_call_process(&lcd);
////          display_send_sms_input(&lcd);
////          void display_send_sms_input(LCD5110_display* lcd);
//
////    HAL_DELAY(1000);
//    return 0;
/* USER CODE END 3 */

/**
  * @brief  Handle the  state machine based on user input.
  * @param  : Reference to the _Module instance.
  * @param  user_input: Input from the keyboard.
  * @retval None
  */
//void handle_state_machine(_Module& , const std::string& user_input) {
//    State next_state = parse_command(user_input);
//
//    if (next_state != _UNKNOWN) {
//        current_state = next_state;
//    }
//
//    }
//}

/**
  * @brief Parse command and map it to a State.
  * @param command: The command string.
  * @retval State corresponding to the command.
  */
//ProgramState parse_command(const std::string& command, _Module ) {
//
//}

void SystemClock_Config(void)
{
  RCC_OscInitTypeDef RCC_OscInitStruct = {0};
  RCC_ClkInitTypeDef RCC_ClkInitStruct = {0};
  RCC_PeriphCLKInitTypeDef PeriphClkInit = {0};

  /** Initializes the RCC Oscillators according to the specified parameters
  * in the RCC_OscInitTypeDef structure.
  */
  RCC_OscInitStruct.OscillatorType = RCC_OSCILLATORTYPE_HSI|RCC_OSCILLATORTYPE_HSE;
  RCC_OscInitStruct.HSEState = RCC_HSE_BYPASS;
  RCC_OscInitStruct.HSEPredivValue = RCC_HSE_PREDIV_DIV1;
  RCC_OscInitStruct.HSIState = RCC_HSI_ON;
  RCC_OscInitStruct.HSICalibrationValue = RCC_HSICALIBRATION_DEFAULT;
  RCC_OscInitStruct.PLL.PLLState = RCC_PLL_ON;
  RCC_OscInitStruct.PLL.PLLSource = RCC_PLLSOURCE_HSE;
  RCC_OscInitStruct.PLL.PLLMUL = RCC_PLL_MUL6;
  if (HAL_RCC_OscConfig(&RCC_OscInitStruct) != HAL_OK)
  {
    Error_Handler();
  }

  /** Initializes the CPU, AHB and APB buses clocks
  */
  RCC_ClkInitStruct.ClockType = RCC_CLOCKTYPE_HCLK|RCC_CLOCKTYPE_SYSCLK
                              |RCC_CLOCKTYPE_PCLK1|RCC_CLOCKTYPE_PCLK2;
  RCC_ClkInitStruct.SYSCLKSource = RCC_SYSCLKSOURCE_PLLCLK;
  RCC_ClkInitStruct.AHBCLKDivider = RCC_SYSCLK_DIV1;
  RCC_ClkInitStruct.APB1CLKDivider = RCC_HCLK_DIV2;
  RCC_ClkInitStruct.APB2CLKDivider = RCC_HCLK_DIV1;

  if (HAL_RCC_ClockConfig(&RCC_ClkInitStruct, FLASH_LATENCY_1) != HAL_OK)
  {
    Error_Handler();
  }
  PeriphClkInit.PeriphClockSelection = RCC_PERIPHCLK_USB|RCC_PERIPHCLK_USART1
                              |RCC_PERIPHCLK_I2C1;
  PeriphClkInit.Usart1ClockSelection = RCC_USART1CLKSOURCE_PCLK2;
  PeriphClkInit.I2c1ClockSelection = RCC_I2C1CLKSOURCE_HSI;
  PeriphClkInit.USBClockSelection = RCC_USBCLKSOURCE_PLL;
  if (HAL_RCCEx_PeriphCLKConfig(&PeriphClkInit) != HAL_OK)
  {
    Error_Handler();
  }
}

void Error_Handler(void){
  __disable_irq();
  while (1)
  {
  }
}
